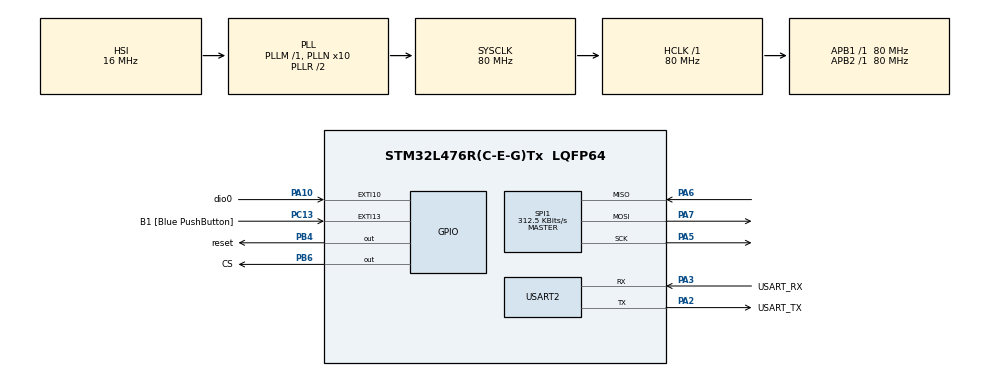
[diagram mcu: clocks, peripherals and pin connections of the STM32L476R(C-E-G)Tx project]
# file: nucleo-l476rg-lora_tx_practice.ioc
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Mcu.Family=STM32L4
Mcu.Name=STM32L476R(C-E-G)Tx
Mcu.Package=LQFP64
NVIC.EXTI15_10_IRQn=true\:0\:0\:false\:false\:true\:true\:true
NVIC.PriorityGroup=NVIC_PRIORITYGROUP_4
PA10.GPIO_Label=dio0
PA10.Signal=GPXTI10
PA13\ (JTMS-SWDIO).GPIO_Label=TMS
PA13\ (JTMS-SWDIO).Mode=Serial_Wire
PA13\ (JTMS-SWDIO).Signal=SYS_JTMS-SWDIO
PA14\ (JTCK-SWCLK).GPIO_Label=TCK
PA14\ (JTCK-SWCLK).Mode=Serial_Wire
PA14\ (JTCK-SWCLK).Signal=SYS_JTCK-SWCLK
PA2.GPIO_Label=USART_TX
PA2.GPIO_Mode=GPIO_MODE_AF_PP
PA2.GPIO_PuPd=GPIO_NOPULL
PA2.GPIO_Speed=GPIO_SPEED_FREQ_VERY_HIGH
PA2.Mode=Asynchronous
PA2.Signal=USART2_TX
PA3.GPIO_Label=USART_RX
PA3.GPIO_Mode=GPIO_MODE_AF_PP
PA3.GPIO_PuPd=GPIO_NOPULL
PA3.GPIO_Speed=GPIO_SPEED_FREQ_VERY_HIGH
PA3.Mode=Asynchronous
PA3.Signal=USART2_RX
PA5.Mode=Full_Duplex_Master
PA5.Signal=SPI1_SCK
PA6.Mode=Full_Duplex_Master
PA6.Signal=SPI1_MISO
PA7.Mode=Full_Duplex_Master
PA7.Signal=SPI1_MOSI
PB3\ (JTDO-TRACESWO).GPIO_Label=SWO
PB3\ (JTDO-TRACESWO).Signal=SYS_JTDO-SWO
PB4\ (NJTRST).GPIO_Label=reset
PB4\ (NJTRST).Signal=GPIO_Output
PB6.GPIO_Label=CS
PB6.Signal=GPIO_Output
PC13.GPIO_Label=B1 [Blue PushButton]
PC13.GPIO_ModeDefaultEXTI=GPIO_MODE_IT_FALLING
PC13.GPIO_PuPd=GPIO_NOPULL
PC13.Signal=GPXTI13
PC14-OSC32_IN\ (PC14).Mode=LSE-External-Oscillator
PC14-OSC32_IN\ (PC14).Signal=RCC_OSC32_IN
PC15-OSC32_OUT\ (PC15).Mode=LSE-External-Oscillator
PC15-OSC32_OUT\ (PC15).Signal=RCC_OSC32_OUT
PH0-OSC_IN\ (PH0).Signal=RCC_OSC_IN
PH1-OSC_OUT\ (PH1).Signal=RCC_OSC_OUT
ProjectManager.HeapSize=0x200
ProjectManager.StackSize=0x400
ProjectManager.TargetToolchain=STM32CubeIDE
RCC.ADCFreq_Value=64000000
RCC.AHBFreq_Value=80000000
RCC.APB1Freq_Value=80000000
RCC.APB1TimFreq_Value=80000000
RCC.APB2Freq_Value=80000000
RCC.APB2TimFreq_Value=80000000
RCC.CortexFreq_Value=80000000
RCC.HCLKFreq_Value=80000000
RCC.HSE_VALUE=8000000
RCC.HSI_VALUE=16000000
RCC.MSI_VALUE=4000000
RCC.PLLN=10
RCC.PLLSourceVirtual=RCC_PLLSOURCE_HSI
RCC.PREFETCH_ENABLE=1
RCC.SYSCLKFreq_VALUE=80000000
RCC.SYSCLKSource=RCC_SYSCLKSOURCE_PLLCLK
RCC.USBFreq_Value=64000000
RCC.VCOOutputFreq_Value=160000000
SPI1.BaudRatePrescaler=SPI_BAUDRATEPRESCALER_256
SPI1.CalculateBaudRate=312.5 KBits/s
SPI1.DataSize=SPI_DATASIZE_8BIT
SPI1.Direction=SPI_DIRECTION_2LINES
SPI1.Mode=SPI_MODE_MASTER
SPI1.VirtualType=VM_MASTER
USART2.VirtualMode-Asynchronous=VM_ASYNC
board=NUCLEO-L476RG

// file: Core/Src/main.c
/* USER CODE BEGIN Header */
/**
  ******************************************************************************
  * @file           : main.c
  * @brief          : Main program body
  ******************************************************************************
  * @attention
  *
  * <h2><center>&copy; Copyright (c) 2021 STMicroelectronics.
  * All rights reserved.</center></h2>
  *
  * This software component is licensed by ST under BSD 3-Clause license,
  * the "License"; You may not use this file except in compliance with the
  * License. You may obtain a copy of the License at:
  *                        opensource.org/licenses/BSD-3-Clause
  *
  ******************************************************************************
  */
/* USER CODE END Header */
#include "main.h"
#include <stdlib.h>
#include<stdio.h>
#include <string.h>
#include "LoRa.h"

SPI_HandleTypeDef hspi1;

UART_HandleTypeDef huart2;

/* USER CODE BEGIN PV */
LoRa myLoRa;
/* USER CODE END PV */

void SystemClock_Config(void);
static void MX_GPIO_Init(void);
static void MX_USART2_UART_Init(void);
static void MX_SPI1_Init(void);

int main(void)
{

  /* MCU Configuration--------------------------------------------------------*/

  /* Reset of all peripherals, Initializes the Flash interface and the Systick. */
  HAL_Init();

  /* Configure the system clock */
  SystemClock_Config();

  /* Initialize all configured peripherals */
  MX_GPIO_Init();
  MX_USART2_UART_Init();
  MX_SPI1_Init();
  /* USER CODE BEGIN 2 */

  /* MODULE SETTINGS */
  myLoRa = newLoRa();

  myLoRa.hSPIx                 = &hspi1;
  myLoRa.CS_port               = GPIOB;
  myLoRa.CS_pin                = CS_Pin;
  myLoRa.reset_port            = GPIOB;
  myLoRa.reset_pin             = reset_Pin;
  myLoRa.DIO0_port                         = dio0_GPIO_Port;
  myLoRa.DIO0_pin                             = dio0_Pin;

  myLoRa.frequency             = 433;                              // default = 433 MHz
  myLoRa.spredingFactor        = SF_7;                            // default = SF_7
  myLoRa.bandWidth                   = BW_62_5KHz;                  // default = BW_125KHz
  myLoRa.crcRate                       = CR_4_5;                        // default = CR_4_5
  myLoRa.power                           = POWER_20db;                // default = 20db
  myLoRa.overCurrentProtection = 120;                             // default = 100 mA
  myLoRa.preamble                       = 10;                              // default = 8;

  LoRa_reset(&myLoRa);
  LoRa_init(&myLoRa);

  /*The following buffer holds the number of transmissions that were attempted.*/
  uint8_t tx_num = 0;

  /* START CONTINUOUS RECEIVING */
  LoRa_startReceiving(&myLoRa);

  /* USER CODE END 2 */

  /* Infinite loop */
  /* USER CODE BEGIN WHILE */
  while (1)
  {
    /*
    * We've started the while loop. The following buffer and variable get initialized in each iteration. Bad practice?
    */
    char   send_data[200];
    uint16_t LoRa_status = LoRa_init(&myLoRa);

    /*
    * The following memset function sets 200 cells of send_data to null. This removes all data from
    * the send_data array.
    */
    memset(send_data,NULL,200);

    /* LORA_OK just means the radio object exists and transmission is good to go. */
    if (LoRa_status==LORA_OK){

      /*
      This buffer holds the number of transmissions.
      Increment this buffer everytime transmission is good to go.
      tx_num is initialized to 0 outside the loop.
      */
      tx_num ++;

      /*
      send_data is the buffer that holds the data I want.
      The data that I'm sending is "LoRa is running..." followed by the number of transmissions that have occured.
      */
      snprintf(send_data,sizeof(send_data),"\r\n LoRa is running... 🙂 %u\r\n", tx_num);
      HAL_UART_Transmit(&huart2, (uint8_t*)send_data, 200, 200);

      /*
      The next line 1. attempts to transmit data AND 2. The result of this attempt is stored in tx_res.
      1 means successful transmission.
      0 means unsuccesssful transmission.
      */
      uint8_t tx_res = LoRa_transmit(&myLoRa, (uint8_t*)send_data, 120, 1000);

      /*
      The following buffer is used to print "Tx Result:..." followed by the result of the tx_res buffer.
      */
      uint8_t result_string[128] = {0};
      sprintf(result_string, "Tx Result: %u\r\n", tx_res);
      HAL_UART_Transmit(&huart2, result_string, strlen(result_string), 1000);
    }
    /*
    The following else statement takes place if we don't get a LORA_OK. We either get a LORA_UNAVAILABLE or a LORA_something-bad.
    */
    else{
      snprintf(send_data,sizeof(send_data),"\n\r LoRa failed 😦 \n\r Error code: %d \n\r", LoRa_status);
      HAL_UART_Transmit(&huart2, (uint8_t*)send_data, 200, 200);
    }
    HAL_Delay(1000); // Attempt tranmission at this rate.
    /* USER CODE END WHILE */

  }
}

void SystemClock_Config(void)
{
  RCC_OscInitTypeDef RCC_OscInitStruct = {0};
  RCC_ClkInitTypeDef RCC_ClkInitStruct = {0};

  /** Configure the main internal regulator output voltage
  */
  if (HAL_PWREx_ControlVoltageScaling(PWR_REGULATOR_VOLTAGE_SCALE1) != HAL_OK)
  {
    Error_Handler();
  }
  /** Initializes the RCC Oscillators according to the specified parameters
  * in the RCC_OscInitTypeDef structure.
  */
  RCC_OscInitStruct.OscillatorType = RCC_OSCILLATORTYPE_HSI;
  RCC_OscInitStruct.HSIState = RCC_HSI_ON;
  RCC_OscInitStruct.HSICalibrationValue = RCC_HSICALIBRATION_DEFAULT;
  RCC_OscInitStruct.PLL.PLLState = RCC_PLL_ON;
  RCC_OscInitStruct.PLL.PLLSource = RCC_PLLSOURCE_HSI;
  RCC_OscInitStruct.PLL.PLLM = 1;
  RCC_OscInitStruct.PLL.PLLN = 10;
  RCC_OscInitStruct.PLL.PLLP = RCC_PLLP_DIV7;
  RCC_OscInitStruct.PLL.PLLQ = RCC_PLLQ_DIV2;
  RCC_OscInitStruct.PLL.PLLR = RCC_PLLR_DIV2;
  if (HAL_RCC_OscConfig(&RCC_OscInitStruct) != HAL_OK)
  {
    Error_Handler();
  }
  /** Initializes the CPU, AHB and APB buses clocks
  */
  RCC_ClkInitStruct.ClockType = RCC_CLOCKTYPE_HCLK|RCC_CLOCKTYPE_SYSCLK
                              |RCC_CLOCKTYPE_PCLK1|RCC_CLOCKTYPE_PCLK2;
  RCC_ClkInitStruct.SYSCLKSource = RCC_SYSCLKSOURCE_PLLCLK;
  RCC_ClkInitStruct.AHBCLKDivider = RCC_SYSCLK_DIV1;
  RCC_ClkInitStruct.APB1CLKDivider = RCC_HCLK_DIV1;
  RCC_ClkInitStruct.APB2CLKDivider = RCC_HCLK_DIV1;

  if (HAL_RCC_ClockConfig(&RCC_ClkInitStruct, FLASH_LATENCY_4) != HAL_OK)
  {
    Error_Handler();
  }
}

static void MX_SPI1_Init(void)
{

  /* SPI1 parameter configuration*/
  hspi1.Instance = SPI1;
  hspi1.Init.Mode = SPI_MODE_MASTER;
  hspi1.Init.Direction = SPI_DIRECTION_2LINES;
  hspi1.Init.DataSize = SPI_DATASIZE_8BIT;
  hspi1.Init.CLKPolarity = SPI_POLARITY_LOW;
  hspi1.Init.CLKPhase = SPI_PHASE_1EDGE;
  hspi1.Init.NSS = SPI_NSS_SOFT;
  hspi1.Init.BaudRatePrescaler = SPI_BAUDRATEPRESCALER_256;
  hspi1.Init.FirstBit = SPI_FIRSTBIT_MSB;
  hspi1.Init.TIMode = SPI_TIMODE_DISABLE;
  hspi1.Init.CRCCalculation = SPI_CRCCALCULATION_DISABLE;
  hspi1.Init.CRCPolynomial = 7;
  hspi1.Init.CRCLength = SPI_CRC_LENGTH_DATASIZE;
  hspi1.Init.NSSPMode = SPI_NSS_PULSE_ENABLE;
  if (HAL_SPI_Init(&hspi1) != HAL_OK)
  {
    Error_Handler();
  }

}

static void MX_USART2_UART_Init(void)
{

  huart2.Instance = USART2;
  huart2.Init.BaudRate = 115200;
  huart2.Init.WordLength = UART_WORDLENGTH_8B;
  huart2.Init.StopBits = UART_STOPBITS_1;
  huart2.Init.Parity = UART_PARITY_NONE;
  huart2.Init.Mode = UART_MODE_TX_RX;
  huart2.Init.HwFlowCtl = UART_HWCONTROL_NONE;
  huart2.Init.OverSampling = UART_OVERSAMPLING_16;
  huart2.Init.OneBitSampling = UART_ONE_BIT_SAMPLE_DISABLE;
  huart2.AdvancedInit.AdvFeatureInit = UART_ADVFEATURE_NO_INIT;
  if (HAL_UART_Init(&huart2) != HAL_OK)
  {
    Error_Handler();
  }

}

static void MX_GPIO_Init(void)
{
  GPIO_InitTypeDef GPIO_InitStruct = {0};

  /* GPIO Ports Clock Enable */
  __HAL_RCC_GPIOC_CLK_ENABLE();
  __HAL_RCC_GPIOH_CLK_ENABLE();
  __HAL_RCC_GPIOA_CLK_ENABLE();
  __HAL_RCC_GPIOB_CLK_ENABLE();

  /*Configure GPIO pin Output Level */
  HAL_GPIO_WritePin(GPIOB, reset_Pin|CS_Pin, GPIO_PIN_RESET);

  /*Configure GPIO pin : B1_Pin */
  GPIO_InitStruct.Pin = B1_Pin;
  GPIO_InitStruct.Mode = GPIO_MODE_IT_FALLING;
  GPIO_InitStruct.Pull = GPIO_NOPULL;
  HAL_GPIO_Init(B1_GPIO_Port, &GPIO_InitStruct);

  /*Configure GPIO pin : dio0_Pin */
  GPIO_InitStruct.Pin = dio0_Pin;
  GPIO_InitStruct.Mode = GPIO_MODE_IT_RISING;
  GPIO_InitStruct.Pull = GPIO_NOPULL;
  HAL_GPIO_Init(dio0_GPIO_Port, &GPIO_InitStruct);

  /*Configure GPIO pins : reset_Pin CS_Pin */
  GPIO_InitStruct.Pin = reset_Pin|CS_Pin;
  GPIO_InitStruct.Mode = GPIO_MODE_OUTPUT_PP;
  GPIO_InitStruct.Pull = GPIO_NOPULL;
  GPIO_InitStruct.Speed = GPIO_SPEED_FREQ_LOW;
  HAL_GPIO_Init(GPIOB, &GPIO_InitStruct);

  /* EXTI interrupt init*/
  HAL_NVIC_SetPriority(EXTI15_10_IRQn, 0, 0);
  HAL_NVIC_EnableIRQ(EXTI15_10_IRQn);

}

void Error_Handler(void)
{
  __disable_irq();
  while (1)
  {
  }
}

/************************ (C) COPYRIGHT STMicroelectronics *****END OF FILE****/
